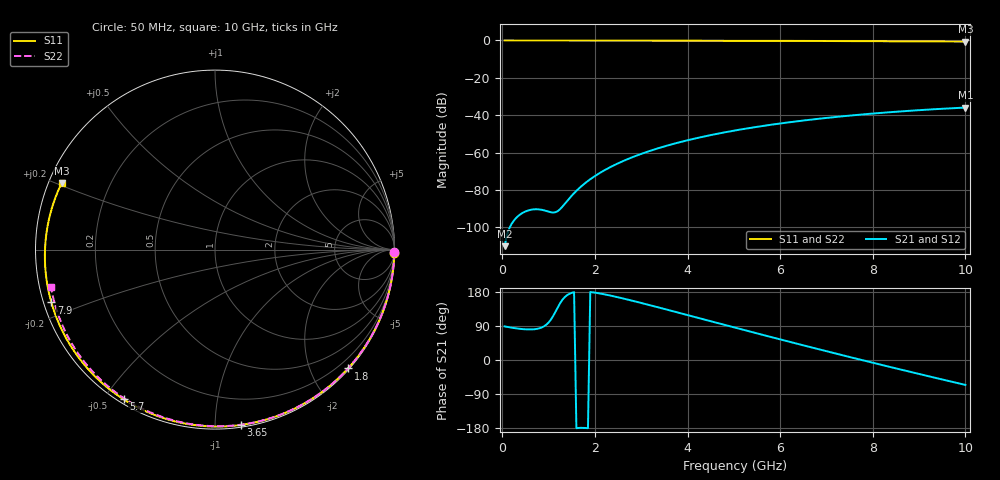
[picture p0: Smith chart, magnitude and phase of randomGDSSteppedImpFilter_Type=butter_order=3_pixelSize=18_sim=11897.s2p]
! freq	dB(S11)	phase(S11)	dB(S12)	phase(S12)
!  dB(S21)	phase(S21)	dB(S22)	phase(S22)
!S-par simulation data
#  GHz  S  DB  R 50
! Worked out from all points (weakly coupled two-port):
!   200 points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, 50 MHz to 10 GHz, reference 50 ohm
!   highest |S21| = -35.93 dB at 10 GHz (marker M1); lowest = -110.1 dB at 50 MHz (marker M2)
!   lowest |S11| = -0.6 dB at 10 GHz (marker M3), VSWR 28.19, Z = 1.85 + j10.4 ohm
!   |S11| at or under -10 dB: nowhere
!   |S22| runs from -0.6 to 0.0 dB; largest |S21 - S12| = 0
!   S11 on the Smith chart (normalised r, x): 50 MHz: open; 1.8 GHz: 0.02, -2.62; 3.65 GHz: 0.01, -1.16; 5.7 GHz: 0.02, -0.56; 7.9 GHz: 0.02, -0.16; 10 GHz: 0.04, +0.21
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0.05  -0.00 -1.2  -110.11 88.7  -110.11 88.7  -0.00 -0.9
0.45  -0.02 -10.6  -92.13 81.4  -92.13 81.4  -0.01 -8.5
0.8  -0.02 -18.8  -90.44 83.6  -90.44 83.6  -0.02 -15.1
1.2  -0.04 -28.1  -91.29 139.5  -91.29 139.5  -0.03 -22.5
1.6  -0.05 -37.3  -80.48 -179.9  -80.48 -179.9  -0.04 -29.9
1.65  -0.05 -38.4  -79.31 -179.3  -79.31 -179.3  -0.04 -30.9
1.75  -0.05 -40.6  -77.14 -179.1  -77.14 -179.1  -0.04 -32.7
1.8  -0.05 -41.8  -76.14 -179.4  -76.14 -179.4  -0.04 -33.6
2.1  -0.06 -48.5  -71.01 175.7  -71.01 175.7  -0.05 -39.0
2.5  -0.07 -57.3  -65.76 165.5  -65.76 165.5  -0.06 -46.2
2.9  -0.08 -65.9  -61.62 153.6  -61.62 153.6  -0.07 -53.3
3.4  -0.10 -76.4  -57.45 137.9  -57.45 137.9  -0.08 -62.0
3.65  -0.11 -81.5  -55.66 129.9  -55.66 129.9  -0.09 -66.3
4.35  -0.13 -95.6  -51.44 107.2  -51.44 107.2  -0.11 -78.1
5.05  -0.17 -109.2  -48.07 84.6  -48.07 84.6  -0.14 -89.5
5.7  -0.20 -121.4  -45.49 63.9  -45.49 63.9  -0.17 -99.9
6.7  -0.27 -139.9  -42.28 32.5  -42.28 32.5  -0.23 -115.5
7.3  -0.32 -151.0  -40.71 14.0  -40.71 14.0  -0.27 -124.7
7.9  -0.37 -162.1  -39.34 -4.2  -39.34 -4.2  -0.32 -133.9
8.35  -0.42 -170.6  -38.44 -17.7  -38.44 -17.7  -0.36 -140.9
9.2  -0.51 172.9  -37.00 -42.7  -37.00 -42.7  -0.46 -154.2
10  -0.62 156.5  -35.93 -65.7  -35.93 -65.7  -0.56 -167.1
